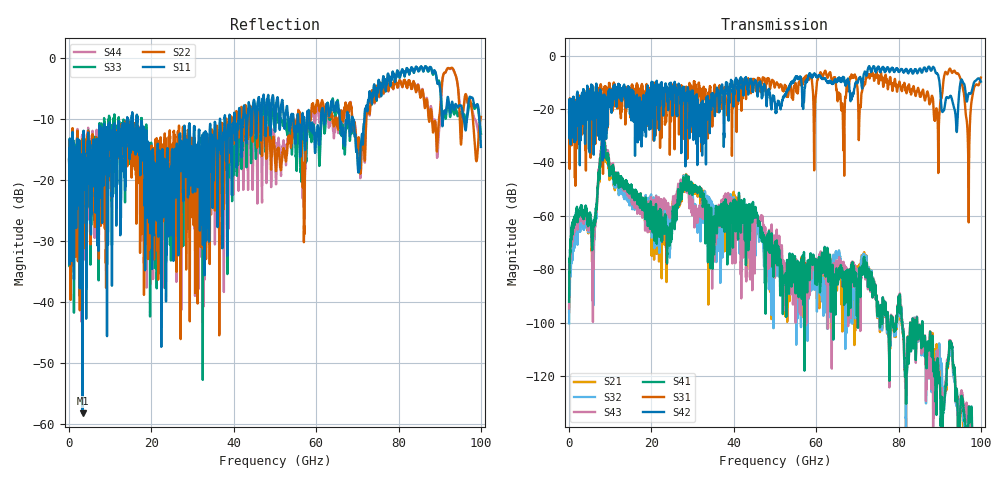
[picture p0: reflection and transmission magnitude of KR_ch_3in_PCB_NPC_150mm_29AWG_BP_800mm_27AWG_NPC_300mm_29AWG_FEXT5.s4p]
# GHz S RI R 45
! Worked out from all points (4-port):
!   4000 points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, 25 MHz to 100 GHz, reference 45 ohm
!   strongest paths, dB at 25 MHz, 25.02 GHz, 50.02 GHz, 75.03 GHz, 100 GHz:
!     S42: -21.3, -17.5, -18.0, -4.3, -9.8
!     S31: -21.3, -11.5, -11.5, -7.8, -8.3
!     S41: -92.2, -63.7, -73.0, -94.3, -151.1
!     S43: -94.7, -56.9, -76.2, -94.0, -158.2
!     S32: -100.3, -61.5, -81.8, -94.8, -163.6
!     S21: -96.2, -58.5, -76.6, -95.2, -162.1
!   lowest |S11| = -58.2 dB at 3.275 GHz (marker M1), VSWR 1.00, Z = 44.9 - j0.0296 ohm
!   |S11| at or under -10 dB: start of sweep to 14.12 GHz; 16.58 GHz to 36.65 GHz (20.07 GHz wide, 75.4 % of centre); 68.85 GHz to 71.74 GHz (2.896 GHz wide, 4.12 % of centre)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
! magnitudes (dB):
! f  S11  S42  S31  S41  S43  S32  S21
! 25 MHz  -16.6  -21.3  -21.3  -92.2  -94.7  -100.3  -96.2
! 3.275 GHz  -58.2  -17.7  -20.8  -59.1  -60.6  -62.9  -61.8
! 5.925 GHz  -13.5  -15.5  -14.9  -64.8  -71.5  -93.5  -72.0
! 8.3 GHz  -18.8  -18.7  -18.6  -29.5  -28.1  -29.5  -31.0
! 24.05 GHz  -21.6  -18.8  -15.4  -65.3  -55.2  -60.2  -61.2
! 96.92 GHz  -7.8  -14.7  -37.7  -139.2  -140.7  -146.2  -142.0
! 100 GHz  -14.6  -9.8  -8.3  -151.1  -158.2  -163.6  -162.1
